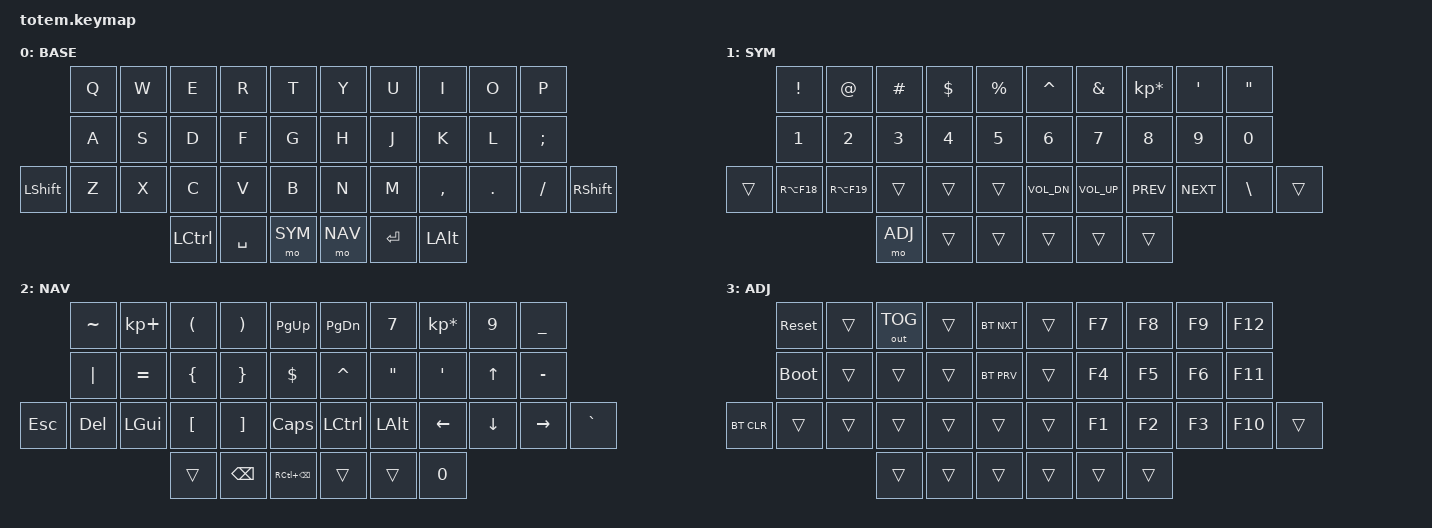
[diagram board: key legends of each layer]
//
//                                                        ▀▀▀▀▀     ▀▀▀▀▀          ▀▀█▀▀
//                                                        ▄▀▀▀▄  ▄  ▄▀▀▀▄  ▄  ▄▀▀▀▄  █  ▄▀▀▀▄
//                                                        █   █  █  █   █  █  █   █  █  █   █
//                                                         ▀▀▀   █   ▀▀▀   █   ▀▀▀   ▀   ▀▀▀
//                                                               █      ▄▄▄█▄▄▄    █   █  
//                                                               ▀      █  █  █     █▄█
//                                                             ▀▀▀▀▀    █  █  █      ▀
//                                                                      ▀  ▀  ▀
//
// ▄▄▄▄▄▄▄▄▄▄▄▄▄▄▄▄▄▄▄▄▄▄▄▄▄▄▄▄▄▄▄▄▄▄▄▄▄▄▄▄▄▄▄▄▄▄▄▄▄▄▄▄▄▄▄▄▄▄▄▄▄▄▄▄▄▄▄▄▄▄▄▄▄▄▄▄▄▄▄▄▄▄▄▄▄▄▄▄▄▄▄▄▄▄▄▄▄▄▄▄▄▄▄▄▄▄▄▄▄▄▄▄▄▄▄▄▄▄▄▄▄▄▄▄▄▄▄▄▄▄▄▄▄▄▄▄▄▄▄▄▄▄▄▄▄▄▄▄▄
       

#include <behaviors.dtsi>
#include <dt-bindings/zmk/keys.h>
#include <dt-bindings/zmk/bt.h>
#include <dt-bindings/zmk/outputs.h>

#define BASE 0
#define SYM  1
#define NAV 2
#define ADJ 3

&sk {
    release-after-ms = <2000>;
    quick-release;
    /delete-property/ ignore-modifiers;
};

&mt {
  quick-tap-ms = <100>;
  global-quick-tap;
  flavor = "tap-preferred";
  tapping-term-ms = <170>;
};

&lt {
  quick-tap-ms = <100>;
  global-quick-tap;
  flavor = "tap-preferred";
  tapping-term-ms = <170>;
};

/ {
    macros {
        gif: gif {
            label = "giphy";
            compatible = "zmk,behavior-macro";
            #binding-cells = <0>;
            bindings
                = <&macro_press &kp LSHFT>
                , <&macro_tap &kp N2>
                , <&macro_release &kp LSHFT>
                , <&macro_tap &kp G &kp I &kp F>
                ;
        };
    };
   combos {
            compatible = "zmk,combos";
            combo_tab {
                timeout-ms = <50>;
                key-positions = <0 1>;
                bindings = <&kp TAB>;
            };
           
           combo_hyphen {
                timeout-ms = <50>;
                key-positions = <19 31>;
                bindings = <&kp MINUS>;
            };
           combo_tilde {
                timeout-ms = <50>;
                key-positions = <0 20>;
                bindings = <&kp TILDE>;
            };
    };
    keymap {
        compatible = "zmk,keymap";
        BASE {
            bindings = <
                            &kp Q       &kp W       &kp E       &kp R       &kp T                  &kp Y       &kp U       &kp I       &kp O       &kp P
                            &kp A       &kp S       &kp D       &kp F       &kp G                  &kp H       &kp J       &kp K       &kp L       &kp SEMI
              &kp LSHIFT    &kp Z       &kp X       &kp C       &kp V       &kp B           &kp N       &kp M       &kp COMMA   &kp DOT     &kp FSLH   &kp RSHIFT 
                                                 &kp LCTRL  &kp SPACE  &mo SYM                 &mo NAV    &kp RETURN  &kp LALT 
            >;
        };
        SYM {

              bindings = <
                &kp EXCL    &kp AT      &kp HASH    &kp DLLR    &kp PRCNT       &kp CARET   &kp AMPS    &kp KP_MULTIPLY  &kp SQT     &kp DQT       
                &kp N1   &kp N2    &kp N3     &kp N4   &kp N5                    &kp N6  &kp N7   &kp N8   &kp N9   &kp N0
    &trans      &kp RA(F18) &kp RA(F19) &trans      &trans      &trans          &kp C_VOL_DN &kp C_VOL_UP &kp C_PREV &kp C_NEXT  &kp BSLH   &trans         
                                       &mo ADJ &trans      &trans               &trans      &trans    &trans      
                        >;
                };
       NAV {
            bindings = <
                            &kp TILDE    &kp KP_PLUS   &kp LPAR   &kp RPAR  &kp PG_UP        &kp PG_DN    &kp N7   &kp KP_MULTIPLY   &kp N9   &kp UNDERSCORE
                            &kp PIPE     &kp EQUAL    &kp LBRC   &kp RBRC   &kp DLLR        &kp CARET      &kp DQT   &kp SQT   &kp UP   &kp MINUS
                &kp ESC    &kp DEL    &kp LGUI   &kp LBKT   &kp RBKT  &kp CAPS          &kp LCTRL      &kp LALT   &kp LEFT   &kp DOWN   &kp RIGHT  &kp GRAVE      
                                                    &trans   &kp BSPC &kp RC(BSPC)       &trans   &trans     &kp N0     
            >;
        };
       ADJ {
            bindings = <
                            &sys_reset  &trans      &out OUT_TOG &trans     &bt BT_NXT      &trans      &kp F7      &kp F8      &kp F9      &kp F12
                            &bootloader &trans      &trans      &trans      &bt BT_PRV      &trans      &kp F4      &kp F5      &kp F6      &kp F11  
                &bt BT_CLR  &trans      &trans      &trans      &trans      &trans          &trans      &kp F1      &kp F2      &kp F3      &kp F10     &trans         
                                                    &trans      &trans      &trans          &trans      &trans      &trans      
            >;
        };
    };
};
